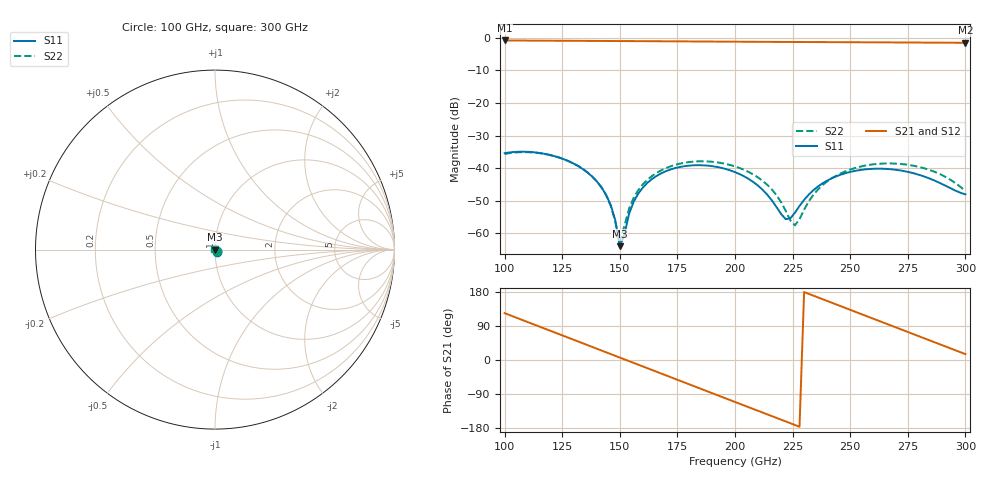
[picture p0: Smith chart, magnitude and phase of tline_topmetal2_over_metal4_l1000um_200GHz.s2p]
#  GHZ S DB R 50
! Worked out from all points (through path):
!   101 points, 100 GHz to 300 GHz, reference 50 ohm
!   highest |S21| = -0.79 dB at 100 GHz (marker M1); lowest = -1.5 dB at 300 GHz (marker M2)
!   group delay of S21, straight-line fit = 6.5 ps
!   lowest |S11| = -63.9 dB at 150 GHz (marker M3), VSWR 1.00, Z = 50 - j0.0619 ohm
!   |S11| at or under -10 dB: start of sweep to end of sweep
!   |S22| runs from -62.7 to -35.1 dB; largest |S21 - S12| = 1e-13
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100  -35.39 -39.2  -0.79 123.6  -0.79 123.6  -35.64 -39.2
116  -35.42 -76.2  -0.85 86.1  -0.85 86.1  -35.46 -76.3
134  -40.29 -117.1  -0.92 43.9  -0.92 43.9  -40.23 -116.9
144  -48.09 -136.8  -0.95 20.5  -0.95 20.5  -48.19 -134.7
148  -55.83 -135.3  -0.96 11.1  -0.96 11.1  -56.28 -127.2
150  -63.93 -103.3  -0.97 6.4  -0.97 6.4  -62.67 -80.2
152  -60.40 -18.0  -0.98 1.7  -0.98 1.7  -57.68 -19.1
154  -54.04 -4.8  -0.99 -2.9  -0.99 -2.9  -52.44 -8.1
156  -50.33 -4.5  -0.99 -7.6  -0.99 -7.6  -49.11 -7.4
160  -45.93 -10.6  -1.01 -17.0  -1.01 -17.0  -44.95 -12.9
168  -41.57 -28.8  -1.04 -35.8  -1.04 -35.8  -40.63 -30.5
184  -39.07 -69.8  -1.10 -73.3  -1.10 -73.3  -37.89 -70.6
200  -41.20 -114.3  -1.17 -110.7  -1.17 -110.7  -39.45 -113.2
214  -48.11 -164.1  -1.22 -143.4  -1.22 -143.4  -45.10 -155.5
222  -55.61 121.0  -1.25 -162.1  -1.25 -162.1  -53.06 161.4
226  -53.66 61.1  -1.26 -171.5  -1.26 -171.5  -57.54 95.0
234  -46.76 9.1  -1.28 169.8  -1.28 169.8  -48.18 7.1
248  -41.51 -39.1  -1.33 137.1  -1.33 137.1  -40.93 -41.6
258  -40.26 -70.2  -1.36 113.7  -1.36 113.7  -39.02 -71.2
268  -40.34 -102.3  -1.39 90.3  -1.39 90.3  -38.54 -100.8
282  -42.52 -152.8  -1.44 57.6  -1.44 57.6  -40.00 -144.4
300  -48.02 106.5  -1.50 15.5  -1.50 15.5  -47.01 141.0
